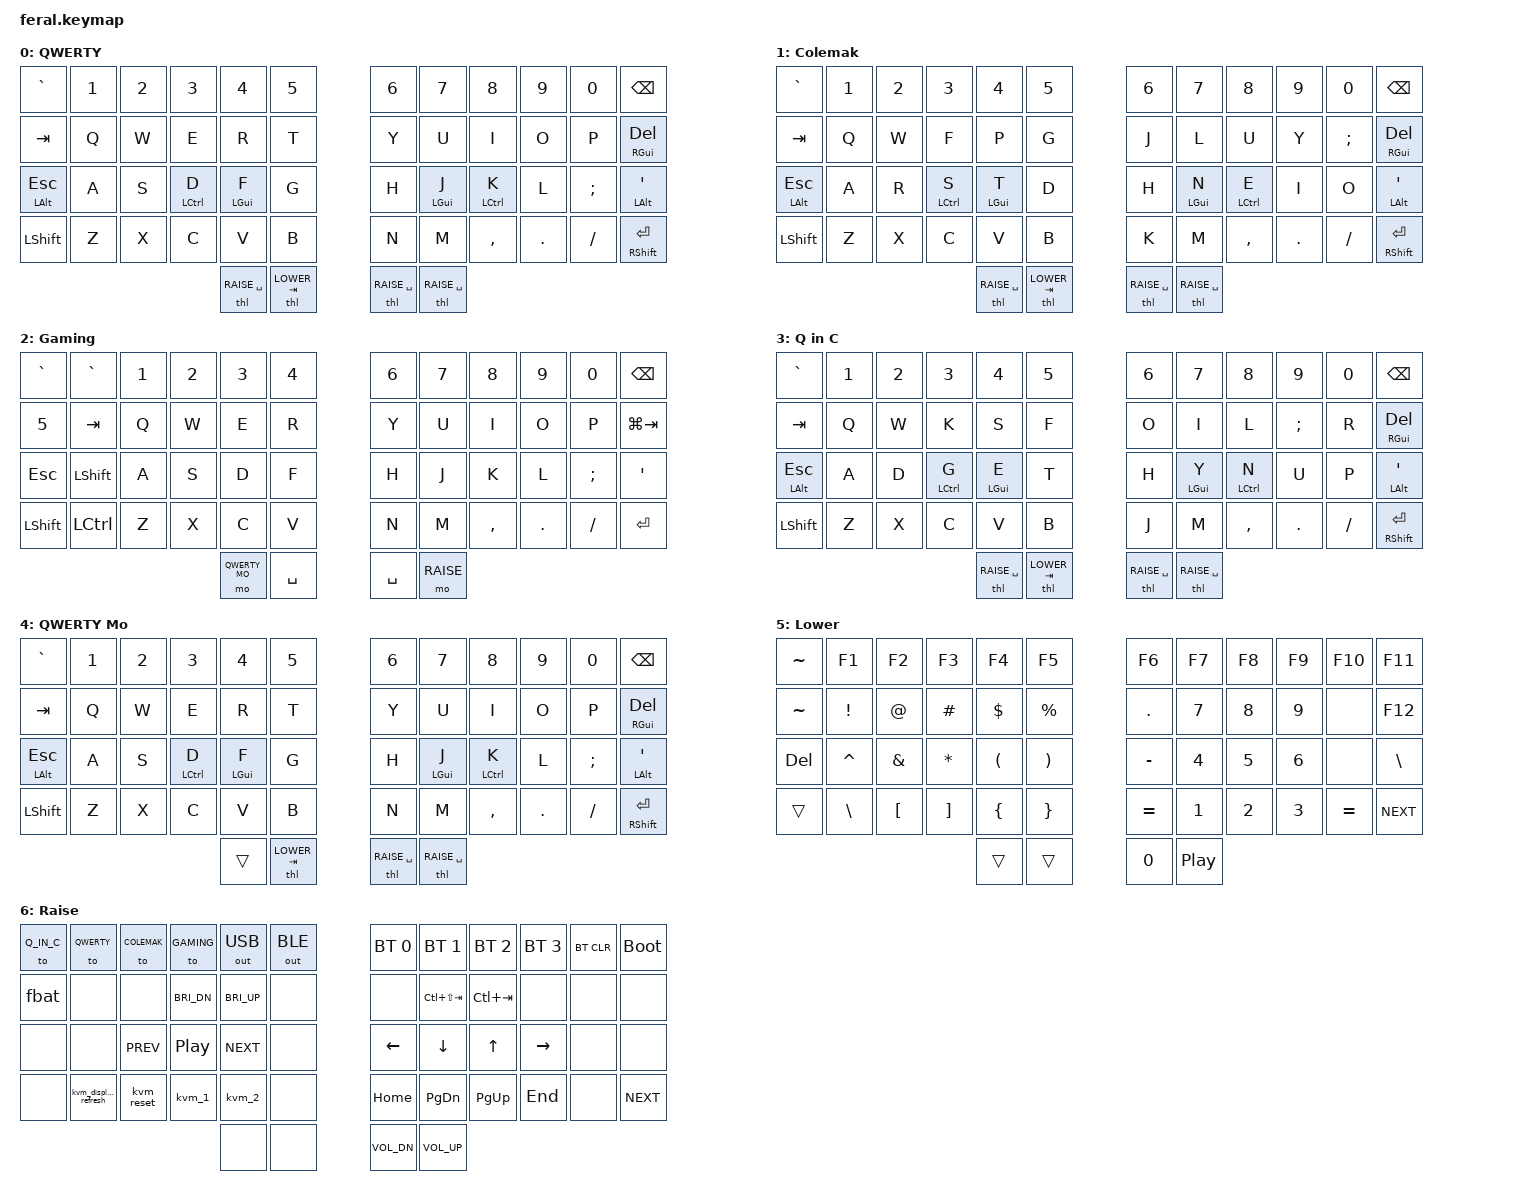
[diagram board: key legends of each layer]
#include <behaviors.dtsi>
#include <dt-bindings/zmk/keys.h>
#include <dt-bindings/zmk/bt.h>
#include <dt-bindings/zmk/outputs.h>

#include "../../shared/base.keymap"

/ {
    behaviors {
        fbat: fbat {
            compatible = "zmk,behavior-feral-battery-indicator";
            #binding-cells = <0>;
            display-name = "Feral Battery Indicator";
        };
    };

    macros {
        kvm_1: kvm_1 {
            compatible = "zmk,behavior-macro";
            #binding-cells = <0>;
            wait-ms = <100>;
            tap-ms = <100>;
            bindings = <&kp LCTRL &kp LCTRL &kp N1>;
        };

        kvm_2: kvm_2 {
            compatible = "zmk,behavior-macro";
            #binding-cells = <0>;
            wait-ms = <100>;
            tap-ms = <100>;
            bindings = <&kp LCTRL &kp LCTRL &kp N2>;
        };

        kvm_display_refresh: kvm_display_refresh {
            compatible = "zmk,behavior-macro";
            #binding-cells = <0>;
            wait-ms = <100>;
            tap-ms = <100>;
            bindings = <&kp LCTRL &kp LCTRL &kp W &kp N0>;
        };

        kvm_reset: kvm_reset {
            compatible = "zmk,behavior-macro";
            #binding-cells = <0>;
            wait-ms = <100>;
            tap-ms = <100>;
            bindings = <&kp LCTRL &kp LCTRL &kp R &kp N0>;
        };
    };

    keymap {
        compatible = "zmk,keymap";

        qwerty_layer {
            /* Qwerty
             * ,-----------------------------------------------------------------------------------.
             * |   `  |   1  |   2  |   3  |   4  |   5  |   6  |   7  |   8  |   9  |   0  | Bksp |
             * |------+------+------+------+------+------+------+------+------+------+------+------|
             * | Tab  |   Q  |   W  |   E  |   R  |   T  |   Y  |   U  |   I  |   O  |   P  | Del  |
             * |------+------+------+------+------+------+------+------+------+------+------+------|
             * |Esc/Al|   A  |   S  |   D  |   F  |   G  |   H  |   J  |   K  |   L  |   ;  |  '   |
             * |------+------+------+------+------+------+------+------+------+------+------+------|
             * | Shift|   Z  |   X  |   C  |   V  |   B  |   N  |   M  |   ,  |   .  |   /  |Enter |
             * |------+------+------+------+------+------+------+------+------+------+------+------|
             * |                     Raise|  Lower | Raise| Raise |
             * `-----------------------------------------------------------------------------------'
             */
            display-name = "QWERTY";
            bindings = <
                &kp GRAVE      &kp N1    &kp N2   &kp N3        &kp N4        &kp N5       &kp N6       &kp N7        &kp N8        &kp N9    &kp N0    &kp BSPC
                &kp TAB        &kp Q     &kp W    &kp E         &kp R         &kp T        &kp Y        &kp U         &kp I         &kp O     &kp P     &hmr RGUI DEL
                &hml LALT ESC  &kp A     &kp S    &hml LCTRL D  &hml LGUI F   &kp G        &kp H        &hmr LGUI J   &hmr LCTRL K  &kp L     &kp SEMI  &hmr LALT SQT
                &kp LSHFT      &kp Z     &kp X    &kp C         &kp V         &kp B        &kp N        &kp M         &kp COMMA     &kp DOT   &kp SLASH &mt RSHFT RET
                                                                &thl RAISE SPACE &thl LOWER TAB &thl RAISE SPACE &thl RAISE SPACE
            >;
        };

        colemak_layer {
            /* Colemak
             * ,-----------------------------------------------------------------------------------.
             * |   `  |   1  |   2  |   3  |   4  |   5  |   6  |   7  |   8  |   9  |   0  | Bksp |
             * |------+------+------+------+------+------+------+------+------+------+------+------|
             * | Tab  |   Q  |   W  |   F  |   P  |   G  |   J  |   L  |   U  |   Y  |   ;  | Del  |
             * |------+------+------+------+------+------+------+------+------+------+------+------|
             * |Esc/Al|   A  |   R  |   S  |   T  |   D  |   H  |   N  |   E  |   I  |   O  |  '   |
             * |------+------+------+------+------+------+------+------+------+------+------+------|
             * | Shift|   Z  |   X  |   C  |   V  |   B  |   K  |   M  |   ,  |   .  |   /  |Enter |
             * |------+------+------+------+------+------+------+------+------+------+------+------|
             * |                     Raise|  Lower | Raise| Raise |
             * `-----------------------------------------------------------------------------------'
             */
            display-name = "Colemak";
            bindings = <
                &kp GRAVE      &kp N1    &kp N2   &kp N3        &kp N4        &kp N5       &kp N6       &kp N7        &kp N8        &kp N9    &kp N0    &kp BSPC
                &kp TAB        &kp Q     &kp W    &kp F         &kp P         &kp G        &kp J        &kp L         &kp U         &kp Y     &kp SEMI  &hmr RGUI DEL
                &hml LALT ESC  &kp A     &kp R    &hml LCTRL S  &hml LGUI T   &kp D        &kp H        &hmr LGUI N   &hmr LCTRL E  &kp I     &kp O     &hmr LALT SQT
                &kp LSHFT      &kp Z     &kp X    &kp C         &kp V         &kp B        &kp K        &kp M         &kp COMMA     &kp DOT   &kp SLASH &mt RSHFT RET
                                                                &thl RAISE SPACE &thl LOWER TAB &thl RAISE SPACE &thl RAISE SPACE
            >;
        };

        gaming_layer {
            /* Gaming (ESDF) -- left hand shifted one column right
             * ,-----------------------------------------------------------------------------------.
             * |   `  |   `  |   1  |   2  |   3  |   4  |   6  |   7  |   8  |   9  |   0  | Bksp |
             * |------+------+------+------+------+------+------+------+------+------+------+------|
             * |   5  | Tab  |   Q  |   W  |   E  |   R  |   Y  |   U  |   I  |   O  |   P  | GuiT |
             * |------+------+------+------+------+------+------+------+------+------+------+------|
             * | Esc  | Shift|   A  |   S  |   D  |   F  |   H  |   J  |   K  |   L  |   ;  |  '   |
             * |------+------+------+------+------+------+------+------+------+------+------+------|
             * | Shift| Ctrl |   Z  |   X  |   C  |   V  |   N  |   M  |   ,  |   .  |   /  |Enter |
             * |------+------+------+------+------+------+------+------+------+------+------+------|
             * |                    QWERTY| Space | Space| Raise |
             * `-----------------------------------------------------------------------------------'
             */
            display-name = "Gaming";
            bindings = <
                &kp GRAVE  &kp GRAVE &kp N1   &kp N2   &kp N3    &kp N4    &kp N6    &kp N7       &kp N8    &kp N9    &kp N0    &kp BSPC
                &kp N5     &kp TAB   &kp Q    &kp W    &kp E     &kp R     &kp Y     &kp U        &kp I     &kp O     &kp P     &kp LG(TAB)
                &kp ESC    &kp LSHFT &kp A    &kp S    &kp D     &kp F     &kp H     &kp J        &kp K     &kp L     &kp SEMI  &kp SQT
                &kp LSHFT  &kp LCTRL &kp Z    &kp X    &kp C     &kp V     &kp N     &kp M        &kp COMMA &kp DOT   &kp SLASH &kp RET
                                                          &mo QWERTY_MO &kp SPACE   &kp SPACE &mo RAISE
            >;
        };

        qwerty_in_colemak_layer {
            /* Qwerty in Colemak
             * ,-----------------------------------------------------------------------------------.
             * |   `  |   1  |   2  |   3  |   4  |   5  |   6  |   7  |   8  |   9  |   0  | Bksp |
             * |------+------+------+------+------+------+------+------+------+------+------+------|
             * | Tab  |   Q  |   W  |   K  |   S  |   F  |   O  |   I  |   L  |   ;  |   R  | Del  |
             * |------+------+------+------+------+------+------+------+------+------+------+------|
             * |Esc/Al|   A  |   D  |   G  |   E  |   T  |   H  |   Y  |   N  |   U  |   P  |  '   |
             * |------+------+------+------+------+------+------+------+------+------+------+------|
             * | Shift|   Z  |   X  |   C  |   V  |   B  |   J  |   M  |   ,  |   .  |   /  |Enter |
             * |------+------+------+------+------+------+------+------+------+------+------+------|
             * |                     Raise|  Lower | Raise| Raise |
             * `-----------------------------------------------------------------------------------'
             */
            display-name = "Q in C";
            bindings = <
                &kp GRAVE      &kp N1    &kp N2   &kp N3        &kp N4        &kp N5       &kp N6       &kp N7        &kp N8        &kp N9    &kp N0    &kp BSPC
                &kp TAB        &kp Q     &kp W    &kp K         &kp S         &kp F        &kp O        &kp I         &kp L         &kp SEMI  &kp R     &hmr RGUI DEL
                &hml LALT ESC  &kp A     &kp D    &hml LCTRL G  &hml LGUI E   &kp T        &kp H        &hmr LGUI Y   &hmr LCTRL N  &kp U     &kp P     &hmr LALT SQT
                &kp LSHFT      &kp Z     &kp X    &kp C         &kp V         &kp B        &kp J        &kp M         &kp COMMA     &kp DOT   &kp SLASH &mt RSHFT RET
                                                                &thl RAISE SPACE &thl LOWER TAB &thl RAISE SPACE &thl RAISE SPACE
            >;
        };

        qwerty_momentary_layer {
            /* Qwerty momentary overlay for higher-priority base layers.
             *
             * This intentionally duplicates QWERTY above COLEMAK/GAMING/Q_IN_C
             * so &mo can expose QWERTY while a non-QWERTY overlay is active.
             * Momentary activation of layer 0 would stay hidden below the
             * active overlay.
             */
            display-name = "QWERTY Mo";
            bindings = <
                &kp GRAVE      &kp N1    &kp N2   &kp N3        &kp N4        &kp N5       &kp N6       &kp N7        &kp N8        &kp N9    &kp N0    &kp BSPC
                &kp TAB        &kp Q     &kp W    &kp E         &kp R         &kp T        &kp Y        &kp U         &kp I         &kp O     &kp P     &hmr RGUI DEL
                &hml LALT ESC  &kp A     &kp S    &hml LCTRL D  &hml LGUI F   &kp G        &kp H        &hmr LGUI J   &hmr LCTRL K  &kp L     &kp SEMI  &hmr LALT SQT
                &kp LSHFT      &kp Z     &kp X    &kp C         &kp V         &kp B        &kp N        &kp M         &kp COMMA     &kp DOT   &kp SLASH &mt RSHFT RET
                                                                &trans          &thl LOWER TAB &thl RAISE SPACE &thl RAISE SPACE
            >;
        };

        lower_layer {
            /* Lower
             * ,-----------------------------------------------------------------------------------.
             * |   ~  |  F1  |  F2  |  F3  |  F4  |  F5  |  F6  |  F7  |  F8  |  F9  |  F10 | F11  |
             * |------+------+------+------+------+------+------+------+------+------+------+------|
             * |   ~  |   !  |   @  |   #  |   $  |   %  |   .  |   7  |   8  |   9  |      | F12  |
             * |------+------+------+------+------+------+------+------+------+------+------+------|
             * | Del  |   ^  |   &  |   *  |   (  |   )  |   -  |   4  |   5  |   6  |      |  \   |
             * |------+------+------+------+------+------+------+------+------+------+------+------|
             * |      |   \  |   [  |   ]  |   {  |   }  |   =  |   1  |   2  |   3  |   =  | Next |
             * |------+------+------+------+------+------+------+------+------+------+------+------|
             * |                     trans| trans |  0   | Play |
             * `-----------------------------------------------------------------------------------'
             */
            display-name = "Lower";
            bindings = <
                &kp TILDE  &kp F1    &kp F2   &kp F3       &kp F4    &kp F5    &kp F6    &kp F7    &kp F8    &kp F9      &kp F10   &kp F11
                &kp TILDE  &kp EXCL  &kp AT   &kp HASH     &kp DLLR  &kp PRCNT &kp DOT   &kp N7    &kp N8    &kp N9      &none     &kp F12
                &kp DEL    &kp CARET &kp AMPS &kp ASTRK    &kp LPAR  &kp RPAR  &kp MINUS &kp N4    &kp N5    &kp N6      &none     &kp BSLH
                &trans     &kp BSLH  &kp LBKT &kp RBKT     &kp LBRC  &kp RBRC  &kp EQUAL &kp N1    &kp N2    &kp N3      &kp EQUAL &kp C_NEXT
                                                            &trans    &trans    &kp N0    &kp C_PP
            >;
        };

        raise_layer {
            /* Raise
             * ,-----------------------------------------------------------------------------------.
             * |QInC  |      |COLMK |GAME  |USB   | BLE  | BT0  | BT1  | BT2  | BT3  | Clear| Boot |
             * |------+------+------+------+------+------+------+------+------+------+------+------|
             * | Batt |      |      | Bri- | Bri+ |      |      |PrevTb|NextTb|      |      |      |
             * |------+------+------+------+------+------+------+------+------+------+------+------|
             * |      |      | Prev | Play | Next |      | Left | Down |  Up  |Right |      |      |
             * |------+------+------+------+------+------+------+------+------+------+------+------|
             * |      | DRef | Rset | KVM1 | KVM2 |      | Home | PgDn | PgUp | End  |      | Next |
             * |------+------+------+------+------+------+------+------+------+------+------+------|
             * |                      none| none  | Vol- | Vol+ |
             * `-----------------------------------------------------------------------------------'
             */
            display-name = "Raise";
            bindings = <
                &to Q_IN_C &to QWERTY           &to COLEMAK &to GAMING   &out OUT_USB &out OUT_BLE &bt BT_SEL 0 &bt BT_SEL 1    &bt BT_SEL 2 &bt BT_SEL 3 &bt BT_CLR &bootloader
                &fbat      &none                &none       &kp C_BRI_DN &kp C_BRI_UP &none        &none        &kp LC(LS(TAB)) &kp LC(TAB)  &none        &none      &none
                &none      &none                &kp C_PREV  &kp C_PP     &kp C_NEXT   &none        &kp LEFT     &kp DOWN        &kp UP       &kp RIGHT    &none      &none
                &none      &kvm_display_refresh &kvm_reset  &kvm_1       &kvm_2       &none        &kp HOME     &kp PG_DN       &kp PG_UP    &kp END      &none      &kp C_NEXT
                                                                         &none        &none        &kp C_VOL_DN &kp C_VOL_UP
            >;
        };

    };
};
